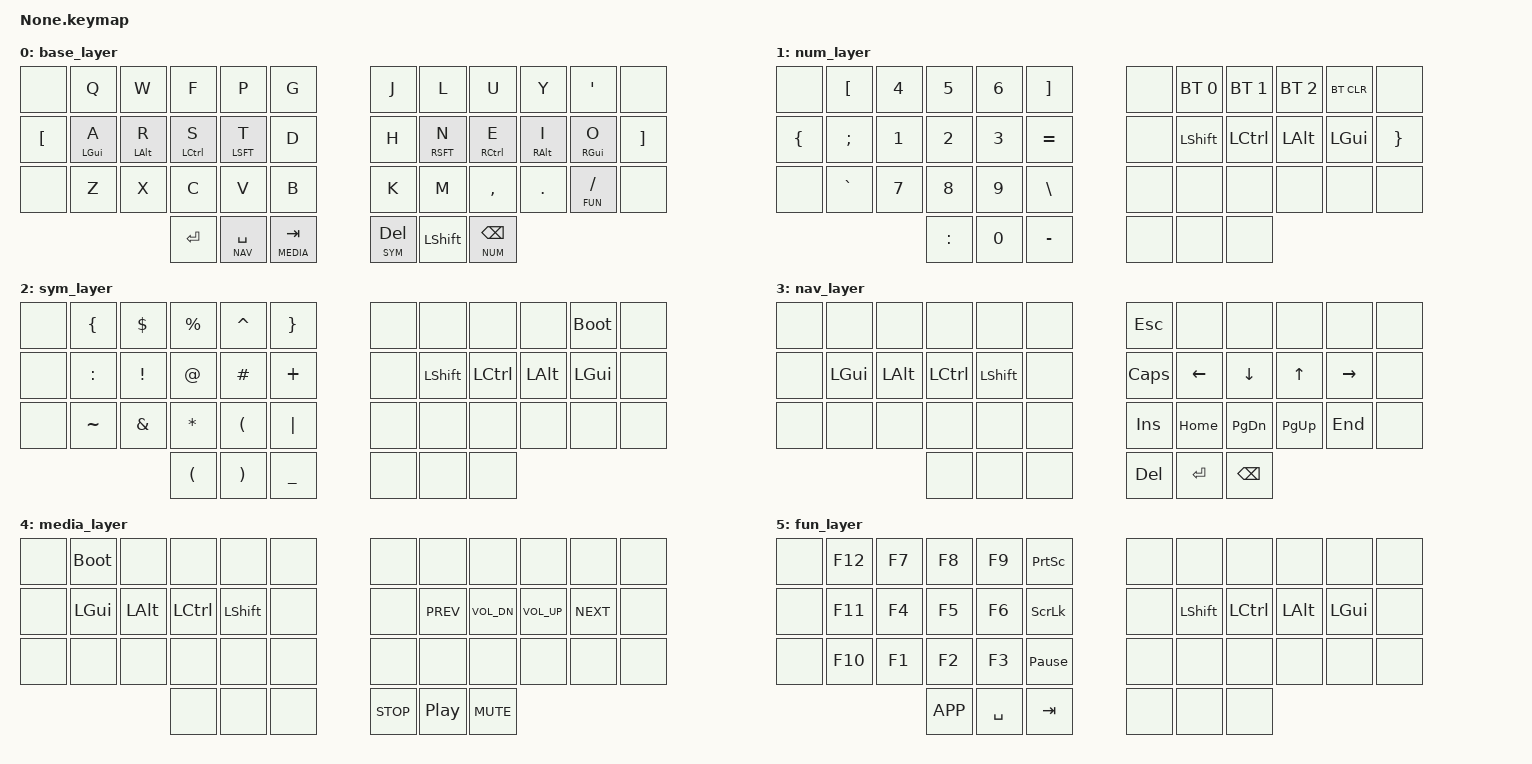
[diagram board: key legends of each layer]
// AUTO-GENERATED - DO NOT EDIT
// Generated from config/keymap.yaml
// Board: Corneish-Zen
// Shield/Board: corneish_zen_v2

#include <behaviors.dtsi>
#include <dt-bindings/zmk/keys.h>
#include <dt-bindings/zmk/bt.h>
#include "dario_behaviors.dtsi"

#define BASE 0
#define NUM 1
#define SYM 2
#define NAV 3
#define MEDIA 4
#define FUN 5

/ {
    keymap {
        compatible = "zmk,keymap";

        base_layer {
            bindings = <
                &none &kp Q &kp W &kp F &kp P &kp G &kp J &kp L &kp U &kp Y &kp SQT &none
                &kp LBKT &hml LGUI A &hml LALT R &hml LCTL S &hml LSFT T &kp D &kp H &hmr RSFT N &hmr RCTL E &hmr RALT I &hmr RGUI O &kp RBKT
                &none &kp Z &kp X &kp C &kp V &kp B &kp K &kp M &kp COMMA &kp DOT &lt FUN FSLH &none
                &kp ENTER &lt NAV SPC &lt MEDIA TAB &lt SYM DEL &kp LSHFT &lt NUM BSPC
            >;
        };

        num_layer {
            bindings = <
                &none &kp LBKT &kp N4 &kp N5 &kp N6 &kp RBKT &none &bt BT_SEL 0 &bt BT_SEL 1 &bt BT_SEL 2 &bt BT_CLR &none
                &kp LBRC &kp SEMI &kp N1 &kp N2 &kp N3 &kp EQUAL &none &kp LSHFT &kp LCTRL &kp LALT &kp LGUI &kp RBRC
                &none &kp GRAVE &kp N7 &kp N8 &kp N9 &kp BSLH &none &none &none &none &none &none
                &kp COLON &kp N0 &kp MINUS &none &none &none
            >;
        };

        sym_layer {
            bindings = <
                &none &kp LBRC &kp DOLLAR &kp PERCENT &kp CARET &kp RBRC &none &none &none &none &bootloader &none
                &none &kp COLON &kp EXCL &kp AT &kp HASH &kp PLUS &none &kp LSHFT &kp LCTRL &kp LALT &kp LGUI &none
                &none &kp TILDE &kp AMPERSAND &kp ASTERISK &kp LPAR &kp PIPE &none &none &none &none &none &none
                &kp LPAR &kp RPAR &kp UNDERSCORE &none &none &none
            >;
        };

        nav_layer {
            bindings = <
                &none &none &none &none &none &none &kp ESC &none &none &none &none &none
                &none &kp LGUI &kp LALT &kp LCTRL &kp LSHFT &none &kp CAPS &kp LEFT &kp DOWN &kp UP &kp RIGHT &none
                &none &none &none &none &none &none &kp INS &kp HOME &kp PG_DN &kp PG_UP &kp END &none
                &none &none &none &kp DEL &kp ENTER &kp BSPC
            >;
        };

        media_layer {
            bindings = <
                &none &bootloader &none &none &none &none &none &none &none &none &none &none
                &none &kp LGUI &kp LALT &kp LCTRL &kp LSHFT &none &none &kp C_PREV &kp C_VOL_DN &kp C_VOL_UP &kp C_NEXT &none
                &none &none &none &none &none &none &none &none &none &none &none &none
                &none &none &none &kp C_STOP &kp C_PLAY_PAUSE &kp C_MUTE
            >;
        };

        fun_layer {
            bindings = <
                &none &kp F12 &kp F7 &kp F8 &kp F9 &kp PRINTSCREEN &none &none &none &none &none &none
                &none &kp F11 &kp F4 &kp F5 &kp F6 &kp SCROLLLOCK &none &kp LSHFT &kp LCTRL &kp LALT &kp LGUI &none
                &none &kp F10 &kp F1 &kp F2 &kp F3 &kp PAUSE_BREAK &none &none &none &none &none &none
                &kp K_APP &kp SPACE &kp TAB &none &none &none
            >;
        };
    };
};
